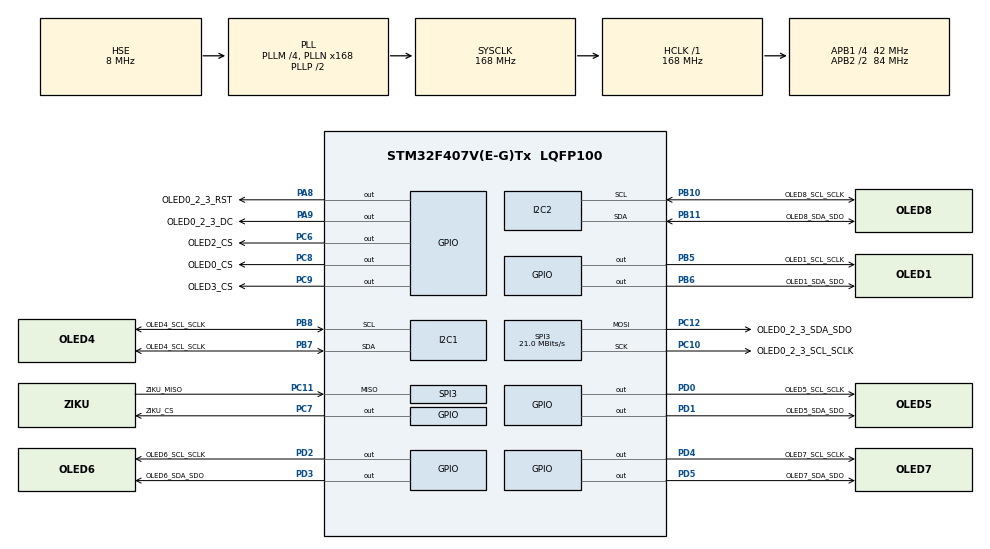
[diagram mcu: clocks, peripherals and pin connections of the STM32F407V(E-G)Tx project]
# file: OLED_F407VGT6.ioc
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I2C1.I2C_Mode=I2C_Fast
I2C2.I2C_Mode=I2C_Fast
Mcu.Family=STM32F4
Mcu.Name=STM32F407V(E-G)Tx
Mcu.Package=LQFP100
NVIC.PriorityGroup=NVIC_PRIORITYGROUP_2
NVIC.TIM4_IRQn=true\:0\:0\:false\:false\:true\:true\:true
PA13.Mode=Serial_Wire
PA13.Signal=SYS_JTMS-SWDIO
PA14.Mode=Serial_Wire
PA14.Signal=SYS_JTCK-SWCLK
PA8.GPIO_Label=OLED0_2_3_RST
PA8.GPIO_ModeDefaultOutputPP=GPIO_MODE_OUTPUT_PP
PA8.GPIO_Speed=GPIO_SPEED_FREQ_LOW
PA8.PinState=GPIO_PIN_RESET
PA8.Signal=GPIO_Output
PA9.GPIO_Label=OLED0_2_3_DC
PA9.GPIO_Speed=GPIO_SPEED_FREQ_VERY_HIGH
PA9.PinState=GPIO_PIN_SET
PA9.Signal=GPIO_Output
PB10.GPIO_Label=OLED8_SCL_SCLK
PB10.Mode=I2C
PB10.Signal=I2C2_SCL
PB11.GPIO_Label=OLED8_SDA_SDO
PB11.Mode=I2C
PB11.Signal=I2C2_SDA
PB5.GPIO_Label=OLED1_SCL_SCLK
PB5.GPIO_ModeDefaultOutputPP=GPIO_MODE_OUTPUT_OD
PB5.GPIO_Speed=GPIO_SPEED_FREQ_VERY_HIGH
PB5.PinState=GPIO_PIN_SET
PB5.Signal=GPIO_Output
PB6.GPIO_Label=OLED1_SDA_SDO
PB6.GPIO_ModeDefaultOutputPP=GPIO_MODE_OUTPUT_OD
PB6.GPIO_Speed=GPIO_SPEED_FREQ_VERY_HIGH
PB6.PinState=GPIO_PIN_SET
PB6.Signal=GPIO_Output
PB7.GPIO_Label=OLED4_SCL_SCLK
PB7.Mode=I2C
PB7.Signal=I2C1_SDA
PB8.GPIO_Label=OLED4_SCL_SCLK
PB8.Mode=I2C
PB8.Signal=I2C1_SCL
PC10.GPIO_Label=OLED0_2_3_SCL_SCLK
PC10.Mode=Full_Duplex_Master
PC10.Signal=SPI3_SCK
PC11.GPIO_Label=ZIKU_MISO
PC11.Mode=Full_Duplex_Master
PC11.Signal=SPI3_MISO
PC12.GPIO_Label=OLED0_2_3_SDA_SDO
PC12.Mode=Full_Duplex_Master
PC12.Signal=SPI3_MOSI
PC6.GPIO_Label=OLED2_CS
PC6.GPIO_Speed=GPIO_SPEED_FREQ_VERY_HIGH
PC6.PinState=GPIO_PIN_SET
PC6.Signal=GPIO_Output
PC7.GPIO_Label=ZIKU_CS
PC7.GPIO_Speed=GPIO_SPEED_FREQ_VERY_HIGH
PC7.PinState=GPIO_PIN_SET
PC7.Signal=GPIO_Output
PC8.GPIO_Label=OLED0_CS
PC8.GPIO_Speed=GPIO_SPEED_FREQ_VERY_HIGH
PC8.PinState=GPIO_PIN_SET
PC8.Signal=GPIO_Output
PC9.GPIO_Label=OLED3_CS
PC9.GPIO_Speed=GPIO_SPEED_FREQ_VERY_HIGH
PC9.PinState=GPIO_PIN_SET
PC9.Signal=GPIO_Output
PD0.GPIO_Label=OLED5_SCL_SCLK
PD0.GPIO_ModeDefaultOutputPP=GPIO_MODE_OUTPUT_OD
PD0.GPIO_PuPd=GPIO_NOPULL
PD0.GPIO_Speed=GPIO_SPEED_FREQ_VERY_HIGH
PD0.PinState=GPIO_PIN_SET
PD0.Signal=GPIO_Output
PD1.GPIO_Label=OLED5_SDA_SDO
PD1.GPIO_ModeDefaultOutputPP=GPIO_MODE_OUTPUT_OD
PD1.GPIO_PuPd=GPIO_NOPULL
PD1.GPIO_Speed=GPIO_SPEED_FREQ_VERY_HIGH
PD1.PinState=GPIO_PIN_SET
PD1.Signal=GPIO_Output
PD2.GPIO_Label=OLED6_SCL_SCLK
PD2.GPIO_ModeDefaultOutputPP=GPIO_MODE_OUTPUT_OD
PD2.GPIO_PuPd=GPIO_NOPULL
PD2.GPIO_Speed=GPIO_SPEED_FREQ_VERY_HIGH
PD2.PinState=GPIO_PIN_SET
PD2.Signal=GPIO_Output
PD3.GPIO_Label=OLED6_SDA_SDO
PD3.GPIO_ModeDefaultOutputPP=GPIO_MODE_OUTPUT_OD
PD3.GPIO_PuPd=GPIO_NOPULL
PD3.GPIO_Speed=GPIO_SPEED_FREQ_VERY_HIGH
PD3.PinState=GPIO_PIN_SET
PD3.Signal=GPIO_Output
PD4.GPIO_Label=OLED7_SCL_SCLK
PD4.GPIO_ModeDefaultOutputPP=GPIO_MODE_OUTPUT_OD
PD4.GPIO_Speed=GPIO_SPEED_FREQ_VERY_HIGH
PD4.PinState=GPIO_PIN_SET
PD4.Signal=GPIO_Output
PD5.GPIO_Label=OLED7_SDA_SDO
PD5.GPIO_ModeDefaultOutputPP=GPIO_MODE_OUTPUT_OD
PD5.GPIO_Speed=GPIO_SPEED_FREQ_VERY_HIGH
PD5.PinState=GPIO_PIN_SET
PD5.Signal=GPIO_Output
PH0-OSC_IN.Mode=HSE-External-Oscillator
PH0-OSC_IN.Signal=RCC_OSC_IN
PH1-OSC_OUT.Mode=HSE-External-Oscillator
PH1-OSC_OUT.Signal=RCC_OSC_OUT
ProjectManager.HeapSize=0x200
ProjectManager.StackSize=0x400
ProjectManager.TargetToolchain=MDK-ARM V5.32
RCC.48MHZClocksFreq_Value=84000000
RCC.AHBFreq_Value=168000000
RCC.APB1CLKDivider=RCC_HCLK_DIV4
RCC.APB1Freq_Value=42000000
RCC.APB1TimFreq_Value=84000000
RCC.APB2CLKDivider=RCC_HCLK_DIV2
RCC.APB2Freq_Value=84000000
RCC.APB2TimFreq_Value=168000000
RCC.CortexFreq_Value=168000000
RCC.HCLKFreq_Value=168000000
RCC.HSE_VALUE=8000000
RCC.HSI_VALUE=16000000
RCC.LSE_VALUE=32768
RCC.PLLM=4
RCC.PLLN=168
RCC.PLLSourceVirtual=RCC_PLLSOURCE_HSE
RCC.SYSCLKFreq_VALUE=168000000
RCC.SYSCLKSource=RCC_SYSCLKSOURCE_PLLCLK
RCC.VCOOutputFreq_Value=336000000
SPI3.CalculateBaudRate=21.0 MBits/s
SPI3.Direction=SPI_DIRECTION_2LINES
SPI3.Mode=SPI_MODE_MASTER
SPI3.VirtualType=VM_MASTER
TIM4.Period=99
TIM4.Prescaler=83
VP_TIM4_VS_ClockSourceINT.Mode=Internal
board=custom

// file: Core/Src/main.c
/* USER CODE BEGIN Header */
/**
  ******************************************************************************
  * @file           : main.c
  * @brief          : Main program body
  ******************************************************************************
  * @attention
  *
  * <h2><center>&copy; Copyright (c) 2021 STMicroelectronics.
  * All rights reserved.</center></h2>
  *
  * This software component is licensed by ST under BSD 3-Clause license,
  * the "License"; You may not use this file except in compliance with the
  * License. You may obtain a copy of the License at:
  *                        opensource.org/licenses/BSD-3-Clause
  *
  ******************************************************************************
  */
/* USER CODE END Header */
#include "main.h"

I2C_HandleTypeDef hi2c1;
I2C_HandleTypeDef hi2c2;

SPI_HandleTypeDef hspi3;

TIM_HandleTypeDef htim4;

void SystemClock_Config(void);
static void MX_GPIO_Init(void);
static void MX_SPI3_Init(void);
static void MX_I2C1_Init(void);
static void MX_I2C2_Init(void);
static void MX_TIM4_Init(void);

int main(void)
{

  /* MCU Configuration--------------------------------------------------------*/

  /* Reset of all peripherals, Initializes the Flash interface and the Systick. */
  HAL_Init();

  /* Configure the system clock */
  SystemClock_Config();

  /* Initialize all configured peripherals */
  MX_GPIO_Init();
  MX_SPI3_Init();
  MX_I2C1_Init();
  MX_I2C2_Init();
  MX_TIM4_Init();
  /* USER CODE BEGIN 2 */
  HAL_TIM_Base_Start_IT(&htim4);
  OLED_Confi();
  /* USER CODE END 2 */

  /* Infinite loop */
  while (1)
  {

    /* USER CODE BEGIN 3 */
      static uint16_t i = 0, Status = 1, time = 11;
      if(delayms_Timer(10) == 1) {
          i = i;
          if(delays_Timer(time) == 1) {
              if(Status==0) {
                  Status = 1;
                  time = 11;
              }else {
                  Status = 0;
                  time = 4;
              }
          }
          if(delays_Timer(Status) == 1) {
              clearBuffer(0);
              OLED_String(0,0,"HELLO WORLD!");
              OLED_Num(2,0,i,3);
              OLED_updateScreen(0);
              OLED_updateScreen(1);
              OLED_updateScreen(2);
              OLED_updateScreen(3);
              OLED_updateScreen(4);
              OLED_updateScreen(5);
              OLED_updateScreen(6);
              OLED_updateScreen(7);
              OLED_updateScreen(8);
              i++;
          }
      }
  }
  /* USER CODE END 3 */
}

void SystemClock_Config(void)
{
  RCC_OscInitTypeDef RCC_OscInitStruct = {0};
  RCC_ClkInitTypeDef RCC_ClkInitStruct = {0};

  /** Configure the main internal regulator output voltage
  */
  __HAL_RCC_PWR_CLK_ENABLE();
  __HAL_PWR_VOLTAGESCALING_CONFIG(PWR_REGULATOR_VOLTAGE_SCALE1);
  /** Initializes the RCC Oscillators according to the specified parameters
  * in the RCC_OscInitTypeDef structure.
  */
  RCC_OscInitStruct.OscillatorType = RCC_OSCILLATORTYPE_HSE;
  RCC_OscInitStruct.HSEState = RCC_HSE_ON;
  RCC_OscInitStruct.PLL.PLLState = RCC_PLL_ON;
  RCC_OscInitStruct.PLL.PLLSource = RCC_PLLSOURCE_HSE;
  RCC_OscInitStruct.PLL.PLLM = 4;
  RCC_OscInitStruct.PLL.PLLN = 168;
  RCC_OscInitStruct.PLL.PLLP = RCC_PLLP_DIV2;
  RCC_OscInitStruct.PLL.PLLQ = 4;
  if (HAL_RCC_OscConfig(&RCC_OscInitStruct) != HAL_OK)
  {
    Error_Handler();
  }
  /** Initializes the CPU, AHB and APB buses clocks
  */
  RCC_ClkInitStruct.ClockType = RCC_CLOCKTYPE_HCLK|RCC_CLOCKTYPE_SYSCLK
                              |RCC_CLOCKTYPE_PCLK1|RCC_CLOCKTYPE_PCLK2;
  RCC_ClkInitStruct.SYSCLKSource = RCC_SYSCLKSOURCE_PLLCLK;
  RCC_ClkInitStruct.AHBCLKDivider = RCC_SYSCLK_DIV1;
  RCC_ClkInitStruct.APB1CLKDivider = RCC_HCLK_DIV4;
  RCC_ClkInitStruct.APB2CLKDivider = RCC_HCLK_DIV2;

  if (HAL_RCC_ClockConfig(&RCC_ClkInitStruct, FLASH_LATENCY_5) != HAL_OK)
  {
    Error_Handler();
  }
}

static void MX_I2C1_Init(void)
{

  hi2c1.Instance = I2C1;
  hi2c1.Init.ClockSpeed = 400000;
  hi2c1.Init.DutyCycle = I2C_DUTYCYCLE_2;
  hi2c1.Init.OwnAddress1 = 0;
  hi2c1.Init.AddressingMode = I2C_ADDRESSINGMODE_7BIT;
  hi2c1.Init.DualAddressMode = I2C_DUALADDRESS_DISABLE;
  hi2c1.Init.OwnAddress2 = 0;
  hi2c1.Init.GeneralCallMode = I2C_GENERALCALL_DISABLE;
  hi2c1.Init.NoStretchMode = I2C_NOSTRETCH_DISABLE;
  if (HAL_I2C_Init(&hi2c1) != HAL_OK)
  {
    Error_Handler();
  }

}

static void MX_I2C2_Init(void)
{

  hi2c2.Instance = I2C2;
  hi2c2.Init.ClockSpeed = 400000;
  hi2c2.Init.DutyCycle = I2C_DUTYCYCLE_2;
  hi2c2.Init.OwnAddress1 = 0;
  hi2c2.Init.AddressingMode = I2C_ADDRESSINGMODE_7BIT;
  hi2c2.Init.DualAddressMode = I2C_DUALADDRESS_DISABLE;
  hi2c2.Init.OwnAddress2 = 0;
  hi2c2.Init.GeneralCallMode = I2C_GENERALCALL_DISABLE;
  hi2c2.Init.NoStretchMode = I2C_NOSTRETCH_DISABLE;
  if (HAL_I2C_Init(&hi2c2) != HAL_OK)
  {
    Error_Handler();
  }

}

static void MX_SPI3_Init(void)
{

  /* SPI3 parameter configuration*/
  hspi3.Instance = SPI3;
  hspi3.Init.Mode = SPI_MODE_MASTER;
  hspi3.Init.Direction = SPI_DIRECTION_2LINES;
  hspi3.Init.DataSize = SPI_DATASIZE_8BIT;
  hspi3.Init.CLKPolarity = SPI_POLARITY_LOW;
  hspi3.Init.CLKPhase = SPI_PHASE_1EDGE;
  hspi3.Init.NSS = SPI_NSS_SOFT;
  hspi3.Init.BaudRatePrescaler = SPI_BAUDRATEPRESCALER_2;
  hspi3.Init.FirstBit = SPI_FIRSTBIT_MSB;
  hspi3.Init.TIMode = SPI_TIMODE_DISABLE;
  hspi3.Init.CRCCalculation = SPI_CRCCALCULATION_DISABLE;
  hspi3.Init.CRCPolynomial = 10;
  if (HAL_SPI_Init(&hspi3) != HAL_OK)
  {
    Error_Handler();
  }

}

static void MX_TIM4_Init(void)
{

  TIM_ClockConfigTypeDef sClockSourceConfig = {0};
  TIM_MasterConfigTypeDef sMasterConfig = {0};

  htim4.Instance = TIM4;
  htim4.Init.Prescaler = 83;
  htim4.Init.CounterMode = TIM_COUNTERMODE_UP;
  htim4.Init.Period = 99;
  htim4.Init.ClockDivision = TIM_CLOCKDIVISION_DIV1;
  htim4.Init.AutoReloadPreload = TIM_AUTORELOAD_PRELOAD_DISABLE;
  if (HAL_TIM_Base_Init(&htim4) != HAL_OK)
  {
    Error_Handler();
  }
  sClockSourceConfig.ClockSource = TIM_CLOCKSOURCE_INTERNAL;
  if (HAL_TIM_ConfigClockSource(&htim4, &sClockSourceConfig) != HAL_OK)
  {
    Error_Handler();
  }
  sMasterConfig.MasterOutputTrigger = TIM_TRGO_RESET;
  sMasterConfig.MasterSlaveMode = TIM_MASTERSLAVEMODE_DISABLE;
  if (HAL_TIMEx_MasterConfigSynchronization(&htim4, &sMasterConfig) != HAL_OK)
  {
    Error_Handler();
  }

}

static void MX_GPIO_Init(void)
{
  GPIO_InitTypeDef GPIO_InitStruct = {0};

  /* GPIO Ports Clock Enable */
  __HAL_RCC_GPIOH_CLK_ENABLE();
  __HAL_RCC_GPIOB_CLK_ENABLE();
  __HAL_RCC_GPIOC_CLK_ENABLE();
  __HAL_RCC_GPIOA_CLK_ENABLE();
  __HAL_RCC_GPIOD_CLK_ENABLE();

  /*Configure GPIO pin Output Level */
  HAL_GPIO_WritePin(GPIOC, OLED2_CS_Pin|ZIKU_CS_Pin|OLED0_CS_Pin|OLED3_CS_Pin, GPIO_PIN_SET);

  /*Configure GPIO pin Output Level */
  HAL_GPIO_WritePin(OLED0_2_3_RST_GPIO_Port, OLED0_2_3_RST_Pin, GPIO_PIN_RESET);

  /*Configure GPIO pin Output Level */
  HAL_GPIO_WritePin(OLED0_2_3_DC_GPIO_Port, OLED0_2_3_DC_Pin, GPIO_PIN_SET);

  /*Configure GPIO pin Output Level */
  HAL_GPIO_WritePin(GPIOD, OLED5_SCL_SCLK_Pin|OLED5_SDA_SDO_Pin|OLED6_SCL_SCLK_Pin|OLED6_SDA_SDO_Pin
                          |OLED7_SCL_SCLK_Pin|OLED7_SDA_SDO_Pin, GPIO_PIN_SET);

  /*Configure GPIO pin Output Level */
  HAL_GPIO_WritePin(GPIOB, OLED1_SCL_SCLK_Pin|OLED1_SDA_SDO_Pin, GPIO_PIN_SET);

  /*Configure GPIO pins : OLED2_CS_Pin ZIKU_CS_Pin OLED0_CS_Pin OLED3_CS_Pin */
  GPIO_InitStruct.Pin = OLED2_CS_Pin|ZIKU_CS_Pin|OLED0_CS_Pin|OLED3_CS_Pin;
  GPIO_InitStruct.Mode = GPIO_MODE_OUTPUT_PP;
  GPIO_InitStruct.Pull = GPIO_NOPULL;
  GPIO_InitStruct.Speed = GPIO_SPEED_FREQ_VERY_HIGH;
  HAL_GPIO_Init(GPIOC, &GPIO_InitStruct);

  /*Configure GPIO pin : OLED0_2_3_RST_Pin */
  GPIO_InitStruct.Pin = OLED0_2_3_RST_Pin;
  GPIO_InitStruct.Mode = GPIO_MODE_OUTPUT_PP;
  GPIO_InitStruct.Pull = GPIO_NOPULL;
  GPIO_InitStruct.Speed = GPIO_SPEED_FREQ_LOW;
  HAL_GPIO_Init(OLED0_2_3_RST_GPIO_Port, &GPIO_InitStruct);

  /*Configure GPIO pin : OLED0_2_3_DC_Pin */
  GPIO_InitStruct.Pin = OLED0_2_3_DC_Pin;
  GPIO_InitStruct.Mode = GPIO_MODE_OUTPUT_PP;
  GPIO_InitStruct.Pull = GPIO_NOPULL;
  GPIO_InitStruct.Speed = GPIO_SPEED_FREQ_VERY_HIGH;
  HAL_GPIO_Init(OLED0_2_3_DC_GPIO_Port, &GPIO_InitStruct);

  /*Configure GPIO pins : OLED5_SCL_SCLK_Pin OLED5_SDA_SDO_Pin OLED6_SCL_SCLK_Pin OLED6_SDA_SDO_Pin
                           OLED7_SCL_SCLK_Pin OLED7_SDA_SDO_Pin */
  GPIO_InitStruct.Pin = OLED5_SCL_SCLK_Pin|OLED5_SDA_SDO_Pin|OLED6_SCL_SCLK_Pin|OLED6_SDA_SDO_Pin
                          |OLED7_SCL_SCLK_Pin|OLED7_SDA_SDO_Pin;
  GPIO_InitStruct.Mode = GPIO_MODE_OUTPUT_OD;
  GPIO_InitStruct.Pull = GPIO_NOPULL;
  GPIO_InitStruct.Speed = GPIO_SPEED_FREQ_VERY_HIGH;
  HAL_GPIO_Init(GPIOD, &GPIO_InitStruct);

  /*Configure GPIO pins : OLED1_SCL_SCLK_Pin OLED1_SDA_SDO_Pin */
  GPIO_InitStruct.Pin = OLED1_SCL_SCLK_Pin|OLED1_SDA_SDO_Pin;
  GPIO_InitStruct.Mode = GPIO_MODE_OUTPUT_OD;
  GPIO_InitStruct.Pull = GPIO_NOPULL;
  GPIO_InitStruct.Speed = GPIO_SPEED_FREQ_VERY_HIGH;
  HAL_GPIO_Init(GPIOB, &GPIO_InitStruct);

}

void Error_Handler(void)
{
  __disable_irq();
  while (1)
  {
  }
}

/************************ (C) COPYRIGHT STMicroelectronics *****END OF FILE****/
